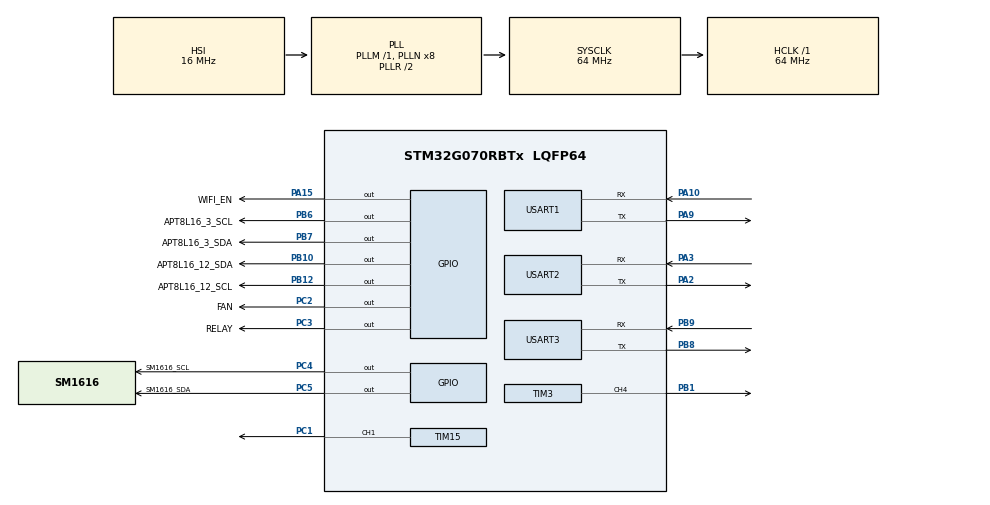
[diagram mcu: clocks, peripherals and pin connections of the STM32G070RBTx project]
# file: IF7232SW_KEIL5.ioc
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Mcu.Family=STM32G0
Mcu.Name=STM32G070RBTx
Mcu.Package=LQFP64
NVIC.TIM3_IRQn=true\:0\:0\:false\:false\:true\:true\:true
NVIC.TIM6_IRQn=true\:0\:0\:false\:false\:true\:true\:true
NVIC.USART1_IRQn=true\:0\:0\:false\:false\:true\:true\:true
NVIC.USART3_4_IRQn=true\:0\:0\:false\:false\:true\:true\:true
PA10.Mode=Asynchronous
PA10.Signal=USART1_RX
PA15.GPIO_Label=WIFI_EN
PA15.Signal=GPIO_Output
PA2.Mode=Asynchronous
PA2.Signal=USART2_TX
PA3.Mode=Asynchronous
PA3.Signal=USART2_RX
PA9.Mode=Asynchronous
PA9.Signal=USART1_TX
PB1.Signal=S_TIM3_CH4
PB10.GPIO_Label=APT8L16_12_SDA
PB10.Signal=GPIO_Output
PB12.GPIO_Label=APT8L16_12_SCL
PB12.Signal=GPIO_Output
PB6.GPIO_Label=APT8L16_3_SCL
PB6.Signal=GPIO_Output
PB7.GPIO_Label=APT8L16_3_SDA
PB7.Signal=GPIO_Output
PB8.Mode=Asynchronous
PB8.Signal=USART3_TX
PB9.Mode=Asynchronous
PB9.Signal=USART3_RX
PC1.Signal=S_TIM15_CH1
PC2.GPIO_Label=FAN
PC2.Signal=GPIO_Output
PC3.GPIO_Label=RELAY
PC3.Signal=GPIO_Output
PC4.GPIO_Label=SM1616_SCL
PC4.Signal=GPIO_Output
PC5.GPIO_Label=SM1616_SDA
PC5.Signal=GPIO_Output
ProjectManager.HeapSize=0x800
ProjectManager.StackSize=0x200
ProjectManager.TargetToolchain=MDK-ARM V5
RCC.ADCFreq_Value=64000000
RCC.AHBFreq_Value=64000000
RCC.CortexFreq_Value=64000000
RCC.EXTERNAL_CLOCK_VALUE=48000
RCC.HCLKFreq_Value=64000000
RCC.HSE_VALUE=8000000
RCC.HSI_VALUE=16000000
RCC.LSE_VALUE=32768
RCC.SYSCLKFreq_VALUE=64000000
RCC.SYSCLKSource=RCC_SYSCLKSOURCE_PLLCLK
RCC.VCOOutputFreq_Value=128000000
SH.S_TIM15_CH1.0=TIM15_CH1,PWM Generation1 CH1
SH.S_TIM3_CH4.0=TIM3_CH4,PWM Generation4 CH4
TIM15.Channel-PWM\ Generation1\ CH1=TIM_CHANNEL_1
TIM15.Period=10
TIM15.Prescaler=6400-1
TIM3.Channel-PWM\ Generation4\ CH4=TIM_CHANNEL_4
TIM3.Period=200-1
TIM3.Prescaler=80-1
TIM6.Period=100-1
TIM6.Prescaler=6400-1
USART1.VirtualMode-Asynchronous=VM_ASYNC
USART1.WordLength=WORDLENGTH_8B
USART2.VirtualMode-Asynchronous=VM_ASYNC
USART2.WordLength=WORDLENGTH_8B
USART3.VirtualMode-Asynchronous=VM_ASYNC
USART3.WordLength=WORDLENGTH_8B
VP_TIM3_VS_ClockSourceINT.Mode=Internal
VP_TIM6_VS_ClockSourceINT.Mode=Enable_Timer
board=custom

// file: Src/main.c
/* USER CODE BEGIN Header */
/**
  ******************************************************************************
  * @file           : main.c
  * @brief          : Main program body
  ******************************************************************************
  * @attention
  *
  * <h2><center>&copy; Copyright (c) 2019 STMicroelectronics.
  * All rights reserved.</center></h2>
  *
  * This software component is licensed by ST under BSD 3-Clause license,
  * the "License"; You may not use this file except in compliance with the
  * License. You may obtain a copy of the License at:
  *                        opensource.org/licenses/BSD-3-Clause
  *
  ******************************************************************************
  */
/* USER CODE END Header */

#include "main.h"
#include "tim.h"
#include "usart.h"
#include "gpio.h"

/* USER CODE BEGIN Includes */
#include <string.h>
#include "sm1616_drv.h"
#include "sm1616_dev.h"
#include "apt8l16_12_dev.h"
#include "apt8l16_3_dev.h"
#include "key.h"
#include "display.h"
#include "ntc.h"
#include "power_level_manage.h"
#include "bsp_esp32.h"
#include "iot.h"

/* USER CODE END Includes */

/* USER CODE BEGIN PD */
#define 	MIN(a,b)					((a) =< (b) ? (a) : (b))

/* USER CODE END PD */

/* USER CODE BEGIN PV */

/* 上电初始化完成标志 */
uint8_t powerOnInitFinish = 0;
/* 蜂鸣器报错次数 */
uint8_t g_Err_BeepTimes = 0;
/* USER CODE END PV */

void SystemClock_Config(void);

/* USER CODE BEGIN 0 */

void user_pwm_setvalue(uint16_t value)
{
    TIM_OC_InitTypeDef sConfigOC;

    sConfigOC.OCMode = TIM_OCMODE_PWM1;
    sConfigOC.Pulse = value;
    sConfigOC.OCPolarity = TIM_OCPOLARITY_HIGH;
    sConfigOC.OCFastMode = TIM_OCFAST_DISABLE;
    HAL_TIM_PWM_ConfigChannel(&htim3, &sConfigOC, TIM_CHANNEL_1);
    HAL_TIM_PWM_Start(&htim3, TIM_CHANNEL_4);
}

/*
 * 函数名：timedTransmissionMsgToMainBoard
 * 描述  ：定时传输信息到主板
 * 输入  ：无
 * 返回  : 无
 */
static void timedTransmissionMsgToMainBoard(void)
{
		if(ms200_flag == SET)
		{
				ms200_flag = RESET;
				if( (g_Pause_State == ENABLE)||(g_TurnOnFlag == POWER_OFF) )
				{
						send_BlankMsgToMainBoard();
				}
				else
				{
						send_ControlMsgToMainBoard();
				}
		}
}

/* 等待开机 */
static void waittingPowerOn(void)
{
		while(g_TurnOnFlag == POWER_OFF)
		{
				if(Ms10_bz1 == SET)
				{
						key_Process();
						display();
						Ms10_bz1 = RESET;
				}
				timedTransmissionMsgToMainBoard();
				powerOffDeal();
		}
}

/* USER CODE END 0 */

int main(void)
{
  /* USER CODE BEGIN 1 */
__IO uint16_t tmpw;
  /* USER CODE END 1 */

  /* MCU Configuration--------------------------------------------------------*/

  /* Reset of all peripherals, Initializes the Flash interface and the Systick. */
  HAL_Init();

  /* USER CODE BEGIN Init */
	tmpw = getTemperature(0,COIL_NTC);
//	g_Zone1_GT.Timer.off_time = tmp;
  /* USER CODE END Init */

  /* Configure the system clock */
  SystemClock_Config();

  /* Initialize all configured peripherals */
  MX_GPIO_Init();
  MX_TIM3_Init();
  MX_TIM6_Init();
  MX_USART1_UART_Init();
  MX_USART2_UART_Init();
  MX_USART3_UART_Init();
  MX_TIM15_Init();
  /* USER CODE BEGIN 2 */

//while(1)
//{
//	HAL_GPIO_WritePin(FAN_GPIO_Port, FAN_Pin, GPIO_PIN_SET);
//	HAL_Delay(500);
//	HAL_GPIO_WritePin(FAN_GPIO_Port, FAN_Pin, GPIO_PIN_RESET);
//	HAL_Delay(500);
//}
	sm1616_Brightness_Ctrl();
	HAL_TIM_PWM_Start(&htim3, TIM_CHANNEL_4);
	HAL_TIM_PWM_Start(&htim15, TIM_CHANNEL_1);
	HAL_TIM_Base_Start_IT(&htim6);
//	HAL_TIM_Base_Start_IT(&htim3);
	__HAL_TIM_SET_COMPARE(&htim3, TIM_CHANNEL_4, 0);
	__HAL_TIM_SET_COMPARE(&htim15, TIM_CHANNEL_1, 10);

	APT8L16_1_Init(KEY_ALL_ENABLE, KEY_ALL_ENABLE, APT8L16_1_KOR_CONFIG);

	APT8L16_2_Init(KEY_ALL_ENABLE, KEY_ALL_ENABLE, APT8L16_2_KOR_CONFIG);
//
	APT8L16_3_Init(KEY_ALL_ENABLE, KEY_ALL_ENABLE, APT8L16_3_KOR_CONFIG);

	SM1616_I2c_Init();
	sm1616_Brightness_Ctrl();

	/* 获取整机功率 */
	defaultPowerSchemeSetting();
	/* 上电立即把功率方案同步到g_IotDownloadData.powerManagement，防止云端下载的iot数据没有功率方案时powerManagement为0而导致重启 */
	g_IotDownloadData.powerManagement = g_TotalPower;    //add on 2020.6.8
	disp_Init();

	zone_Init();

	powerOnInitFinish = 1;
//	while(1)
//	{
//	ESP32_Rst();
//	}
  /* USER CODE END 2 */

  /* Infinite loop */
  while (1)
  {

    /* USER CODE BEGIN 3 */
//		user_pwm_setvalue(2000);

	/* 等待开机 */
	waittingPowerOn();

		get_MainBoard_Message();
		if(Ms10_bz1 == SET)
		{
				powerTabelAllot();
				key_Process();
				Ms10_bz1 = RESET;
		}

		if(Ms10_bz3 == SET)
		{
				display();
				Ms10_bz3 = RESET;
		}

		if(Ms10_bz9 == SET)
		{
				Ms10_bz9 = RESET;
		}

		if(Ms10_bz8 == SET)
		{
				Ms10_bz8 = RESET;
		}

		if(secFlag == SET)
		{
				if(g_Pause_State != ENABLE)
				{
						/* 设备运行时间 */
						g_RunningTime++;
						if( (g_Zone1_GT.Gear+g_Zone2_GT.Gear+g_Zone3_GT.Gear+g_Zone4_GT.Gear+g_ZoneLeft_GT.Gear+g_ZoneRight_GT.Gear) == 0)//档位为0不降功率
						{
								/* 空闲时间达到设定值，执行关机操作 */
								if(g_DevIdleTimer++ >= DEV_IDLE_TIME)
								{
									Beep_On(30);
									HAL_Delay(300);
									g_TurnOnFlag = POWER_OFF;
								}
								g_RunningTime = 0;
								idleFlag = SET;
						}
						else
						{
								idleFlag = RESET;
								g_DevIdleTimer = 0;
								generalPowerReduction();//降低功率
								/* 保温功能 */
								keepWarmFunction();
								/* BBQ功能 */
								BBQ_Function();
						}
						/* 定时关闭炉头 */
						zong_Timing_Shutdown_Deal();
				}
				/* 温度保护功能 */
//				temperatureDetectionProcess();
				/* 蜂鸣器报错次数 */
				if(g_Err_BeepTimes)
				{
					g_Err_BeepTimes--;
					Beep_On(ERROR_BZ_TIME);
				}
				secFlag	= RESET;
		}
		/* 定时传输信息到主板 */
		timedTransmissionMsgToMainBoard();

/*********************处理iot服务器的数据********************************/
	if(strEsp32_Fram_Record .InfBit .FramFinishFlag == 1)
		{
			strEsp32_Fram_Record .Data_RX_BUF [ strEsp32_Fram_Record .InfBit .FramLength ] = '\0';
			macPC_Usart("UART2 Meg: %s\r\n", strEsp32_Fram_Record.Data_RX_BUF);

//			memery = mallco_dev.perused();//查看使用率
//			printf("memory: %d\r\n",memery);
			ESP32_RevHandle();
			strEsp32_Fram_Record .InfBit .FramLength=0;

			__HAL_UART_ENABLE_IT(&huart2,UART_IT_IDLE);
			__HAL_UART_ENABLE_IT(&huart2,UART_IT_RXNE);

			strEsp32_Fram_Record .InfBit .FramLength = 0;
			strEsp32_Fram_Record .InfBit .FramFinishFlag = 0;
		}

		ESP32_AT_Cmd_Handle();

  }
  /* USER CODE END 3 */
}

void SystemClock_Config(void)
{
  RCC_OscInitTypeDef RCC_OscInitStruct = {0};
  RCC_ClkInitTypeDef RCC_ClkInitStruct = {0};
  RCC_PeriphCLKInitTypeDef PeriphClkInit = {0};

  /** Configure the main internal regulator output voltage
  */
  HAL_PWREx_ControlVoltageScaling(PWR_REGULATOR_VOLTAGE_SCALE1);
  /** Initializes the CPU, AHB and APB busses clocks
  */
  RCC_OscInitStruct.OscillatorType = RCC_OSCILLATORTYPE_HSI;
  RCC_OscInitStruct.HSIState = RCC_HSI_ON;
  RCC_OscInitStruct.HSIDiv = RCC_HSI_DIV1;
  RCC_OscInitStruct.HSICalibrationValue = RCC_HSICALIBRATION_DEFAULT;
  RCC_OscInitStruct.PLL.PLLState = RCC_PLL_ON;
  RCC_OscInitStruct.PLL.PLLSource = RCC_PLLSOURCE_HSI;
  RCC_OscInitStruct.PLL.PLLM = RCC_PLLM_DIV1;
  RCC_OscInitStruct.PLL.PLLN = 8;
  RCC_OscInitStruct.PLL.PLLP = RCC_PLLP_DIV2;
  RCC_OscInitStruct.PLL.PLLR = RCC_PLLR_DIV2;
  if (HAL_RCC_OscConfig(&RCC_OscInitStruct) != HAL_OK)
  {
    Error_Handler();
  }
  /** Initializes the CPU, AHB and APB busses clocks
  */
  RCC_ClkInitStruct.ClockType = RCC_CLOCKTYPE_HCLK|RCC_CLOCKTYPE_SYSCLK
                              |RCC_CLOCKTYPE_PCLK1;
  RCC_ClkInitStruct.SYSCLKSource = RCC_SYSCLKSOURCE_PLLCLK;
  RCC_ClkInitStruct.AHBCLKDivider = RCC_SYSCLK_DIV1;
  RCC_ClkInitStruct.APB1CLKDivider = RCC_HCLK_DIV1;

  if (HAL_RCC_ClockConfig(&RCC_ClkInitStruct, FLASH_LATENCY_2) != HAL_OK)
  {
    Error_Handler();
  }
  /** Initializes the peripherals clocks
  */
  PeriphClkInit.PeriphClockSelection = RCC_PERIPHCLK_USART1|RCC_PERIPHCLK_USART2;
  PeriphClkInit.Usart1ClockSelection = RCC_USART1CLKSOURCE_PCLK1;
  PeriphClkInit.Usart2ClockSelection = RCC_USART2CLKSOURCE_PCLK1;
  if (HAL_RCCEx_PeriphCLKConfig(&PeriphClkInit) != HAL_OK)
  {
    Error_Handler();
  }
}

void Error_Handler(void)
{
}

/************************ (C) COPYRIGHT STMicroelectronics *****END OF FILE****/
